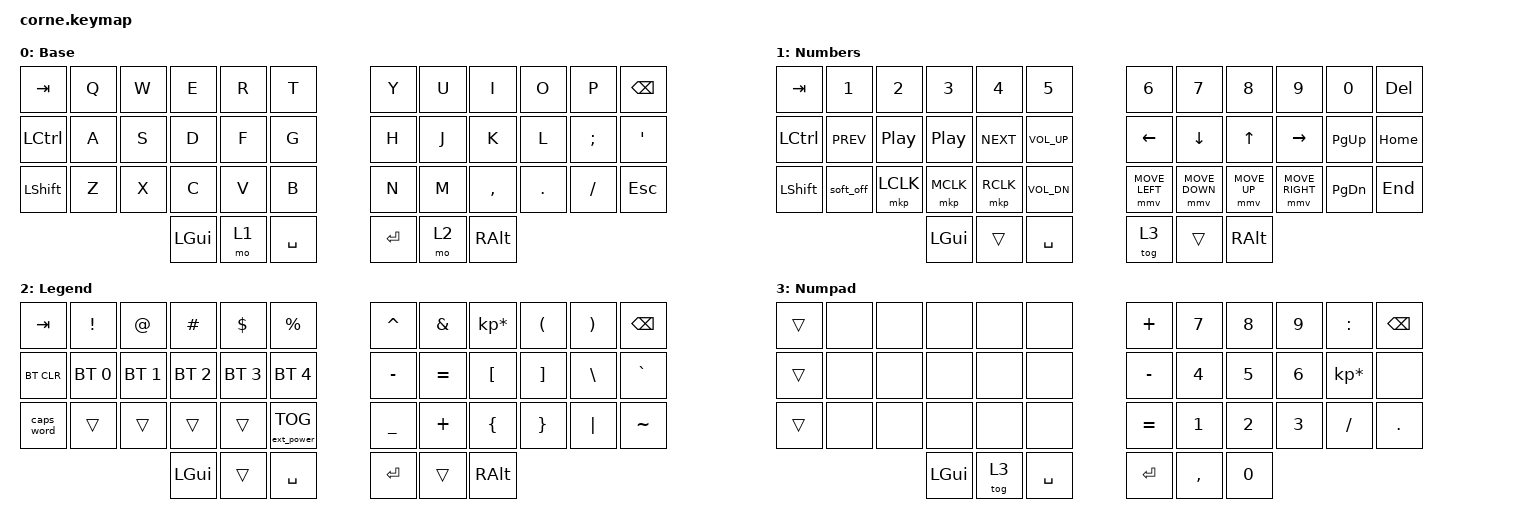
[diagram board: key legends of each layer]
// #include <../boards/shields/corne/boards/nice_nano_v2.overlay>
/*
 * Copyright (c) 2020 The ZMK Contributors
 *
 * SPDX-License-Identifier: MIT
 */

#include <behaviors.dtsi>
#include <dt-bindings/zmk/keys.h>
#include <dt-bindings/zmk/bt.h>
#include <dt-bindings/zmk/ext_power.h>
// #include <zephyr/dt-bindings/interrupt-controller/arm-gic.h>
#include <dt-bindings/zmk/pointing.h>

&soft_off {
    hold-time-ms = <1500>; // Only turn off it the key is held for 5 seconds or longer.
};


/{keymap{
    compatible = "zmk,keymap";
        default_layer{display-name = "Base";
        // -----------------------------------------------------------------------------------------
        //     |  TAB |  Q  |  W  |  E  |  R  |  T  |            |  Y  |  U   |  I      |  O   |  P      | BKSP |
        //     | CTRL |  A  |  S  |  D  |  F  |  G  |            |  H  |  J   |  K      |  L   |  ;      |  '   |
        //     | SHFT |  Z  |  X  |  C  |  V  |  B  |            |  N  |  M   |  ,      |  .   |  /      | ESC  |
        //                        | GUI | LWR | SPC |            | ENT | RSE  | ALT |
            bindings = <
               &kp TAB   &kp Q &kp W &kp E &kp R &kp T           &kp Y &kp U  &kp I     &kp O   &kp P    &kp BSPC
               &kp LCTRL &kp A &kp S &kp D &kp F &kp G           &kp H &kp J  &kp K     &kp L   &kp SEMI &kp SQT
               &kp LSHFT &kp Z &kp X &kp C &kp V &kp B           &kp N &kp M  &kp COMMA &kp DOT &kp FSLH &kp ESC
                                      &kp LGUI &mo 1 &kp SPACE   &kp RET &mo 2 &kp RALT
            >;
        };
        lower_layer {display-name = "Numbers";
        // -----------------------------------------------------------------------------------------
        //     |  TAB     |  1      |  2      |  3      |  4      |  5          |       |  6      |  7      |  8      |  9      |  0      |  DEL  |
        //     | CTRL     | C_PREV  | C_PP    | C_PP    | C_NEXT  | C_VOL_UP    |       | LFT     | DWN     |  UP     | RGT     |  PG_UP  |  HOME |
        //     | SHFT     | S_OFF   |  LCLK   |  MCLK   |  RCLK   |   C_VOL_DN  |       | MV_LFT  | MV_DWN  |  MV_UP  | MV_RGT  |  PG_DN  |  END  |
        //                                    | GUI     |         | SPC         |       | TOG3     |         | ALT     |
            bindings = <
               &kp TAB   &kp N1      &kp N2    &kp N3    &kp N4     &kp N5                &kp N6    &kp N7    &kp N8     &kp N9    &kp N0     &kp DEL
               &kp LCTRL &kp C_PREV  &kp C_PP  &kp C_PP  &kp C_NEXT &kp C_VOL_UP          &kp LEFT  &kp DOWN  &kp UP     &kp RIGHT &kp PG_UP   &kp HOME 
               &kp LSHFT &soft_off   &mkp LCLK &mkp MCLK &mkp RCLK  &kp C_VOL_DN          &mmv MOVE_LEFT   &mmv MOVE_DOWN &mmv MOVE_UP &mmv MOVE_RIGHT &kp PG_DN  &kp END
                                  	          &kp LGUI &trans     &kp SPACE             &tog 3   &trans    &kp RALT
            >;
        };
        
        raise_layer {display-name = "Legend";
        // -----------------------------------------------------------------------------------------
        //     |  TAB     |  !          |  @      |  #          |  $          |  %      |       |    ^    |    &   |      *        |    (    |    )   | BKSP |
        //     | BTCLR    | BT1         | BT2     | BT3         | BT4         | BT5     |       |    -         =   |      [        |    ]    |  \     |  `   |
        //     | CAPS_WORD|             |         |             |             |         |       |    _    |    +   |      {        |    }    |   "|"  |  ~   |
        //                                        | GUI         |             | SPC     |       |   ENT   |         |    ALT       |
            bindings = <
               &kp TAB    &kp EXCL     &kp AT       &kp HASH     &kp DLLR     &kp PRCNT         &kp CARET &kp AMPS  &kp KP_MULTIPLY &kp LPAR &kp RPAR &kp BSPC
               &bt BT_CLR &bt BT_SEL 0 &bt BT_SEL 1 &bt BT_SEL 2 &bt BT_SEL 3 &bt BT_SEL 4      &kp MINUS &kp EQUAL &kp LBKT        &kp RBKT &kp BSLH &kp GRAVE
               &caps_word &trans       &trans       &trans       &trans      &ext_power EP_TOG &kp UNDER &kp PLUS  &kp LBRC        &kp RBRC &kp PIPE &kp TILDE
                            	                   &kp LGUI      &trans       &kp SPACE         &kp RET   &trans    &kp RALT
            >;
        };
        numpad_layer {display-name = "Numpad";
        // -----------------------------------------------------------------------------------------
        // |     |     |     |     |     |     |     |    +    |   7    |    8    |    9    |    :    | BKSP |
        // |     |     |     |     |     |     |     |    -    |   4    |    5    |    6    |    *    |      |
        // |     |     |     |     |     |     |     |    =    |   1    |    2    |    3    |    /    |  .   |
        //                   | GUI | TOG4| SPC |     |   ENT   |   ,    |    0    |
                                bindings = <
            &trans &none &none &none &none &none      &kp PLUS  &kp N7   &kp N8    &kp N9   &kp COLON &kp BSPC
            &trans &none &none &none &none &none      &kp MINUS &kp N4   &kp N5    &kp N6   &kp KP_MULTIPLY &none
            &trans &none &none &none &none &none      &kp EQUAL &kp N1   &kp N2    &kp N3   &kp FSLH  &kp DOT
                             &kp LGUI &tog 3 &kp SPACE &kp RET  &kp COMMA &kp N0
                >;
        };
    };
};
